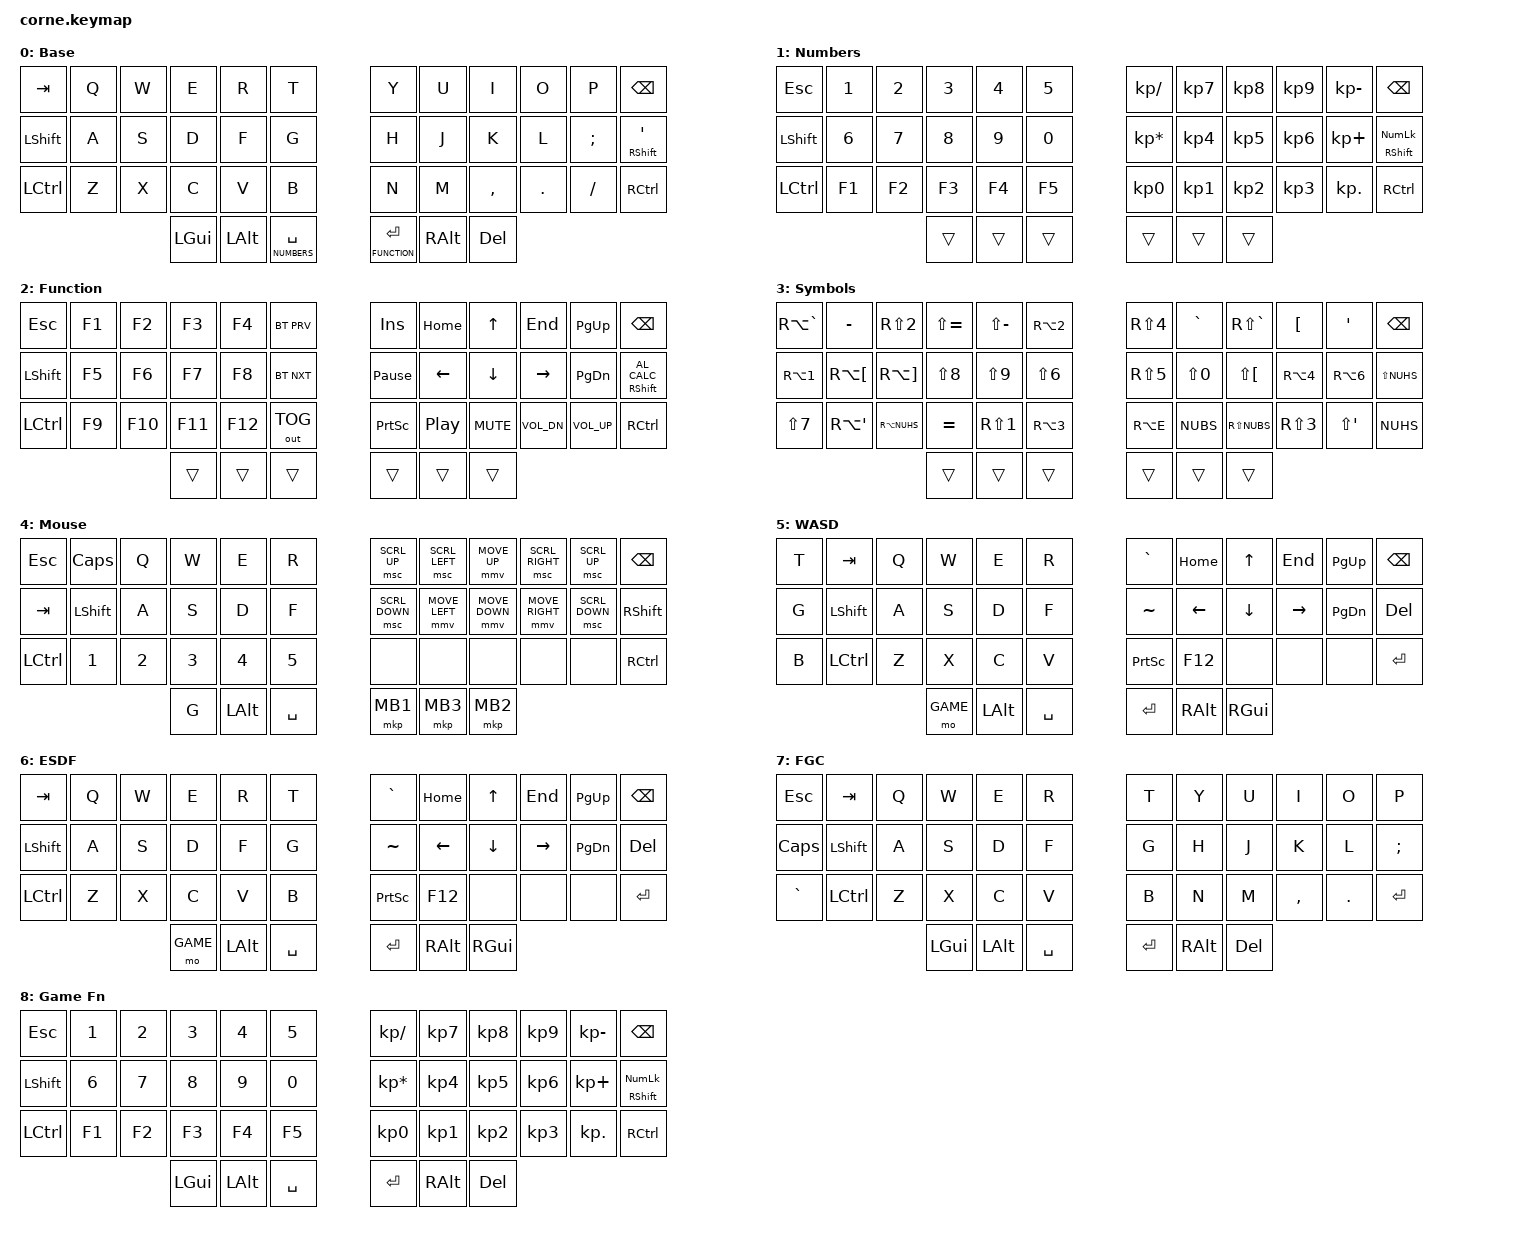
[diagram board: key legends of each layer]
/*
 * Copyright (c) 2020 The ZMK Contributors
 *
 * SPDX-License-Identifier: MIT
 */

#include <behaviors.dtsi>
#include <dt-bindings/zmk/bt.h>
#include <dt-bindings/zmk/keys.h>
#include <dt-bindings/zmk/outputs.h>
#include <dt-bindings/zmk/pointing.h>

#define BASE 0
#define NUMBERS 1
#define FUNCTION 2
#define SYMBOLS 3
#define MOUSE 4
#define WASD 5
#define ESDF 6
#define FGC 7
#define GAME 8

#define KEY_TAB 0
#define KEY_T 5
#define KEY_LSHIFT 12
#define KEY_G 17
#define KEY_H 18
#define KEY_TILDE 23
#define KEY_RSHIFT 23
#define KEY_WIN 36
#define KEY_LALT 37
#define KEY_SPACE 38
#define KEY_ENTER 39
#define KEY_RALT 40
#define KEY_DEL 41

&mt {
    tapping-term-ms = <200>;
};

&lt {
    tapping-term-ms = <200>;
};

/ {
        behaviors {
            mt: mod_tap {
                compatible = "zmk,behavior-hold-tap";
                #binding-cells = <2>;
                flavor = "balanced";
                tapping-term-ms = <200>;
                bindings = <&kp>, <&kp>;
                display-name = "Mod-Tap";
            };
        };

        combos {
                compatible = "zmk,combos";
                combo_mo_mouse {
                    timeout-ms = <50>;
                    key-positions = <KEY_LALT KEY_SPACE>;
                    slow-release;
                    bindings = <&mo MOUSE>;
                    layers = <BASE>;
                };
                combo_to_mouse {
                    timeout-ms = <50>;
                    key-positions = <KEY_ENTER KEY_RALT KEY_DEL>;
                    bindings = <&to MOUSE>;
                    layers = <BASE>;
                };
                combo_to_wasd {
                    timeout-ms = <50>;
                    key-positions = <KEY_WIN KEY_LALT KEY_SPACE>;
                    bindings = <&to WASD>;
                    layers = <BASE>;
                };
                combo_to_esdf {
                    timeout-ms = <50>;
                    key-positions = <KEY_ENTER KEY_WIN KEY_LALT KEY_SPACE>;
                    bindings = <&to ESDF>;
                    layers = <BASE>;
                };
                combo_to_fgc {
                    timeout-ms = <50>;
                    key-positions = <KEY_ENTER KEY_RALT KEY_DEL KEY_SPACE>;
                    bindings = <&to FGC>;
                    layers = <BASE>;
                };
                combo_to_base {
                    timeout-ms = <50>;
                    key-positions = <KEY_WIN KEY_LALT KEY_SPACE>;
                    bindings = <&to BASE>;
                    layers = <MOUSE WASD ESDF FGC>;
                };
                combo_to_base_alt {
                    timeout-ms = <50>;
                    key-positions = <KEY_ENTER KEY_RALT KEY_DEL>;
                    bindings = <&to BASE>;
                    layers = <MOUSE WASD ESDF FGC>;
                };
                combo_caps_word {
                    timeout-ms = <50>;
                    key-positions = <KEY_LSHIFT KEY_RSHIFT>;
                    bindings = <&caps_word>;
                    layers = <BASE>;
                };
                combo_caps {
                    timeout-ms = <50>;
                    key-positions = <KEY_LSHIFT KEY_LALT>;
                    bindings = <&kp CAPS>;
                    layers = <BASE>;
                };
                combo_esc {
                    timeout-ms = <50>;
                    key-positions = <KEY_SPACE KEY_TAB>;
                    bindings = <&kp CAPS>;
                    layers = <WASD ESDF FGC>;
                };
                combo_bt_clr {
                    timeout-ms = <100>;
                    key-positions = <KEY_H KEY_TILDE>;
                    bindings = <&bt BT_CLR>;
                    layers = <FUNCTION>;
                };
        };

        
        conditional_layers {
            compatible = "zmk,conditional-layers";
            tri_layer {
                if-layers = <NUMBERS FUNCTION>;
                then-layer = <SYMBOLS>;
            };
        };

        keymap {
                compatible = "zmk,keymap";

                base {
                        display-name = "Base";
                        bindings = <
   &kp TAB             &kp Q               &kp W               &kp E               &kp R               &kp T                                   &kp Y               &kp U               &kp I               &kp O               &kp P               &kp BSPC
   &kp LSHIFT          &kp A               &kp S               &kp D               &kp F               &kp G                                   &kp H               &kp J               &kp K               &kp L               &kp SEMI            &mt RSHIFT SQT
   &kp LCTRL           &kp Z               &kp X               &kp C               &kp V               &kp B                                   &kp N               &kp M               &kp COMMA           &kp DOT             &kp FSLH            &kp RCTRL
                                                               &kp LGUI            &kp LALT            &lt NUMBERS SPACE                       &lt FUNCTION RET    &kp RALT            &kp DEL
                        >;
                };

                numbers {
                        display-name = "Numbers";
                        bindings = <
   &kp ESC             &kp N1              &kp N2              &kp N3              &kp N4              &kp N5                                  &kp KP_SLASH        &kp KP_N7           &kp KP_N8           &kp KP_N9           &kp KP_MINUS        &kp BSPC
   &kp LSHIFT          &kp N6              &kp N7              &kp N8              &kp N9              &kp N0                                  &kp KP_ASTERISK     &kp KP_N4           &kp KP_N5           &kp KP_N6           &kp KP_PLUS         &mt RSHIFT KP_NUMLOCK
   &kp LCTRL           &kp F1              &kp F2              &kp F3              &kp F4              &kp F5                                  &kp KP_N0           &kp KP_N1           &kp KP_N2           &kp KP_N3           &kp KP_DOT          &kp RCTRL
                                                               &trans              &trans              &trans                                  &trans              &trans              &trans
                        >;
                };

                function {
                        display-name = "Function";
                        bindings = <
   &kp ESC             &kp F1              &kp F2              &kp F3              &kp F4              &bt BT_PRV                              &kp INS             &kp HOME            &kp UP              &kp END             &kp PG_UP           &kp BSPC
   &kp LSHIFT          &kp F5              &kp F6              &kp F7              &kp F8              &bt BT_NXT                              &kp PAUSE_BREAK     &kp LEFT            &kp DOWN            &kp RIGHT           &kp PG_DN           &mt RSHIFT C_AL_CALC
   &kp LCTRL           &kp F9              &kp F10             &kp F11             &kp F12             &out OUT_TOG                            &kp PSCRN           &kp C_PP            &kp C_MUTE          &kp C_VOL_DN        &kp C_VOL_UP        &kp RCTRL
                                                               &trans              &trans              &trans                                  &trans              &trans              &trans
                        >;
                };

                symbols {
                        display-name = "Symbols";
                        bindings = <
   &kp RA(GRAVE)       &kp MINUS           &kp RS(N2)          &kp LS(EQUAL)       &kp LS(MINUS)       &kp RA(N2)                              &kp RS(N4)          &kp GRAVE           &kp RS(GRAVE)       &kp LBKT            &kp SQT             &kp BSPC
   &kp RA(N1)          &kp RA(LBKT)        &kp RA(RBKT)        &kp LS(N8)          &kp LS(N9)          &kp LS(N6)                              &kp RS(N5)          &kp LS(N0)          &kp LS(LBKT)        &kp RA(N4)          &kp RA(N6)          &kp LS(NUHS)
   &kp LS(N7)          &kp RA(SQT)         &kp RA(NUHS)        &kp EQUAL           &kp RS(N1)          &kp RA(N3)                              &kp RA(E)           &kp NUBS            &kp RS(NUBS)        &kp RS(N3)          &kp LS(SQT)         &kp NUHS
                                                               &trans              &trans              &trans                                  &trans              &trans              &trans
                        >;
                };

                mouse {
                        display-name = "Mouse";
                        bindings = <
   &kp ESC             &kp CAPS            &kp Q               &kp W               &kp E               &kp R                                   &msc SCRL_UP        &msc SCRL_LEFT      &mmv MOVE_UP        &msc SCRL_RIGHT     &msc SCRL_UP        &kp BSPC
   &kp TAB             &kp LSHFT           &kp A               &kp S               &kp D               &kp F                                   &msc SCRL_DOWN      &mmv MOVE_LEFT      &mmv MOVE_DOWN      &mmv MOVE_RIGHT     &msc SCRL_DOWN      &kp RSHFT
   &kp LCTRL           &kp N1              &kp N2              &kp N3              &kp N4              &kp N5                                  &none               &none               &none               &none               &none               &kp RCTRL
                                                               &kp G               &kp LALT            &kp SPACE                               &mkp MB1            &mkp MB3            &mkp MB2
                        >;
                };

                wasd {
                        display-name = "WASD";
                        bindings = <
   &kp T               &kp TAB             &kp Q               &kp W               &kp E               &kp R                                   &kp GRAVE           &kp HOME            &kp UP              &kp END             &kp PG_UP           &kp BSPC
   &kp G               &kp LSHIFT          &kp A               &kp S               &kp D               &kp F                                   &kp TILDE           &kp LEFT            &kp DOWN            &kp RIGHT           &kp PG_DN           &kp DEL
   &kp B               &kp LCTRL           &kp Z               &kp X               &kp C               &kp V                                   &kp PSCRN           &kp F12             &none               &none               &none               &kp RET
                                                               &mo GAME            &kp LALT            &kp SPACE                               &kp RET             &kp RALT            &kp RGUI
                        >;
                };

                esdf {
                        display-name = "ESDF";
                        bindings = <
   &kp TAB             &kp Q               &kp W               &kp E               &kp R               &kp T                                   &kp GRAVE           &kp HOME            &kp UP              &kp END             &kp PG_UP           &kp BSPC
   &kp LSHIFT          &kp A               &kp S               &kp D               &kp F               &kp G                                   &kp TILDE           &kp LEFT            &kp DOWN            &kp RIGHT           &kp PG_DN           &kp DEL
   &kp LCTRL           &kp Z               &kp X               &kp C               &kp V               &kp B                                   &kp PSCRN           &kp F12             &none               &none               &none               &kp RET
                                                               &mo GAME            &kp LALT            &kp SPACE                               &kp RET             &kp RALT            &kp RGUI
                        >;
                };

                fgc {
                        display-name = "FGC";
                        bindings = <
   &kp ESC             &kp TAB             &kp Q               &kp W               &kp E               &kp R                                   &kp T               &kp Y               &kp U               &kp I               &kp O               &kp P
   &kp CAPS            &kp LSHIFT          &kp A               &kp S               &kp D               &kp F                                   &kp G               &kp H               &kp J               &kp K               &kp L               &kp SEMI
   &kp GRAVE           &kp LCTRL           &kp Z               &kp X               &kp C               &kp V                                   &kp B               &kp N               &kp M               &kp COMMA           &kp DOT             &kp RET
                                                               &kp LGUI            &kp LALT            &kp SPACE                               &kp RET             &kp RALT            &kp DEL
                        >;
                };

                game {
                        display-name = "Game Fn";
                        bindings = <
   &kp ESC             &kp N1              &kp N2              &kp N3              &kp N4              &kp N5                                  &kp KP_SLASH        &kp KP_N7           &kp KP_N8           &kp KP_N9           &kp KP_MINUS        &kp BSPC
   &kp LSHIFT          &kp N6              &kp N7              &kp N8              &kp N9              &kp N0                                  &kp KP_ASTERISK     &kp KP_N4           &kp KP_N5           &kp KP_N6           &kp KP_PLUS         &mt RSHIFT KP_NUMLOCK
   &kp LCTRL           &kp F1              &kp F2              &kp F3              &kp F4              &kp F5                                  &kp KP_N0           &kp KP_N1           &kp KP_N2           &kp KP_N3           &kp KP_DOT          &kp RCTRL
                                                               &kp LGUI            &kp LALT            &kp SPACE                               &kp RET             &kp RALT            &kp DEL
                        >;
                };
        };
};
